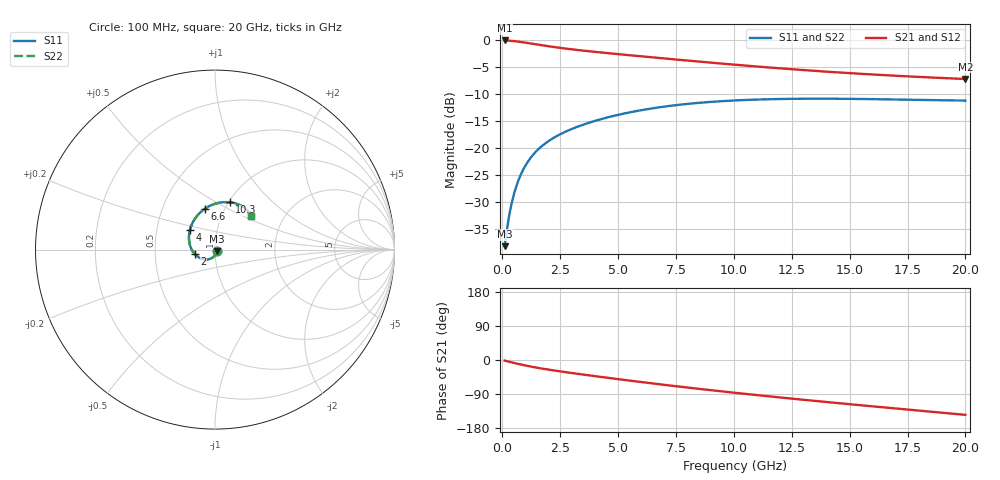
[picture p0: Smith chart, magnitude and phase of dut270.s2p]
! Touchstone file exported from HFSS 2023.1.0
!  File:  D:/Users/fzz/RDL_TSV/temp_RDL_TSV_270_1778761949.aedt
!  Generated:  8:44:52 %x4E0B%x5348  5%x6708 14, 2026
!  Design:  RDL_TSV
!  Project:  temp_RDL_TSV_270_1778761949
!  Setup:  Setup1
!  Solution:  Sweep
! Variables:
!  dtsv = 15.06um
!  hbump = 3um
!  htsv = 80.31um
!  ldown = 111.19um
!  lrdl = 346.62um
!  p = 40
!  p1 = 52.86um
!  rhole = 10um
!  subl = 1720.05um
!  t = 450um
!  tdown = 2.68um
!  trdl = 2.71um
!  viad = 10um
!  wdown = 16.1um
!  wrdl = 27.7um
!  xbump = 18um
# GHz S MA R 50.000000
! Terminal data exported
! Port[1] = TM1_1_T1
! Port[2] = TM1_4_T1
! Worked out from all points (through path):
!   200 points, 100 MHz to 20 GHz, reference 50 ohm
!   highest |S21| = -0.09 dB at 100 MHz (marker M1); lowest = -7.2 dB at 20 GHz (marker M2)
!   group delay of S21, straight-line fit = 18.9 ps
!   lowest |S11| = -38.3 dB at 100 MHz (marker M3), VSWR 1.02, Z = 50.9 - j0.788 ohm
!   |S11| at or under -10 dB: start of sweep to end of sweep
!   |S22| runs from -38.3 to -10.9 dB; largest |S21 - S12| = 1.6e-14
!   S11 on the Smith chart (normalised r, x): 100 MHz: 1.02, -0.02; 2 GHz: 0.80, -0.04; 4 GHz: 0.74, +0.17; 6.6 GHz: 0.81, +0.39; 10.3 GHz: 1.01, +0.58; 20 GHz: 1.37, +0.56
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0.1  0.01222 -39.3  0.9893 -1.6  0.9893 -1.6  0.01222 -39.3
! Gamma 0 0 0 0
! Port Impedance 50 0 50 0
0.2  0.01738 -63.0  0.9873 -3.2  0.9873 -3.2  0.01738 -63.0
0.3  0.02364 -77.7  0.9842 -4.7  0.9842 -4.7  0.02364 -77.7
0.4  0.03027 -88.2  0.9802 -6.2  0.9802 -6.2  0.03028 -88.2
0.6  0.04363 -103.9  0.9701 -9.2  0.9701 -9.2  0.04363 -103.9
0.8  0.05642 -116.4  0.9578 -11.9  0.9578 -11.9  0.05643 -116.3
1  0.06837 -127.1  0.9441 -14.5  0.9441 -14.5  0.06837 -127.1
1.3  0.08457 -141.2  0.9224 -18.1  0.9224 -18.1  0.08456 -141.2
1.6  0.09885 -153.6  0.9008 -21.4  0.9008 -21.4  0.09883 -153.5
2  0.1155 -167.9  0.8739 -25.5  0.8739 -25.5  0.1154 -167.9
2.7  0.14 171.2  0.8334 -31.8  0.8334 -31.8  0.1399 171.3
3.5  0.1639 152.2  0.7958 -38.5  0.7958 -38.5  0.1638 152.2
4  0.1774 142.1  0.7754 -42.6  0.7754 -42.6  0.1773 142.2
5.3  0.2087 120.8  0.7282 -52.8  0.7282 -52.8  0.2084 120.8
6.6  0.2342 104.2  0.6858 -62.7  0.6858 -62.7  0.2339 104.2
6.8  0.2376 102.0  0.6796 -64.1  0.6796 -64.1  0.2373 102.0
8.3  0.2588 87.4  0.6353 -74.8  0.6353 -74.8  0.2584 87.5
10.1  0.275 74.0  0.5879 -86.9  0.5879 -86.9  0.2746 74.0
10.3  0.2763 72.7  0.583 -88.2  0.583 -88.2  0.2758 72.7
13.4  0.2852 57.1  0.5184 -107.3  0.5184 -107.3  0.2846 57.1
16.7  0.281 47.5  0.4689 -126.3  0.4689 -126.3  0.2804 47.5
20  0.2738 43.3  0.4343 -144.7  0.4343 -144.7  0.2733 43.2
